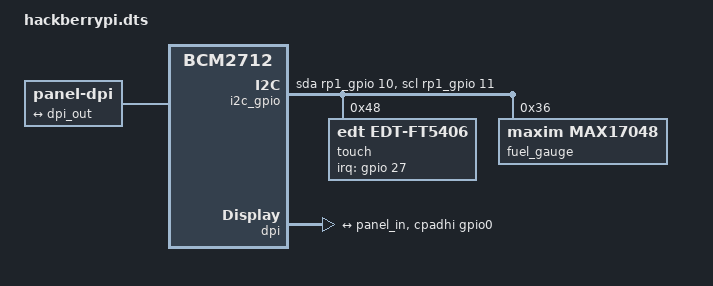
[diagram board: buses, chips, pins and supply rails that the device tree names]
/*
 * hackberrypi.dts — HackberryPi CM5 overlay for Marathon OS
 *
 * Combines:
 *   - HyperPixel 4.0 Square (720×720) DPI panel + edt-ft5x06 capacitive
 *     touch — identical to ZitaoTech's stock hackberrypi.dtbo (matches
 *     panel-timing values we extracted from the binary).
 *   - MAX17048 LiPo fuel gauge on the same i2c-gpio bus @ 0x36, using
 *     the upstream `maxim,max17048` compatible string so the standard
 *     CONFIG_BATTERY_MAX17040=m kernel module binds (no DKMS / no
 *     out-of-tree driver needed). CNflysky's hackberrypiq20 driver uses
 *     a custom `hackberrypi,max17048-battery` compatible to add
 *     hackberrypi-specific energy reporting, but the mainline driver is
 *     sufficient for status-bar percentage display.
 *
 * Reference: github.com/CNflysky/hackberrypiq20/blob/main/hackberrypicm5.dts
 *            github.com/ZitaoTech/HackberryPiCM5
 */
/dts-v1/;
/plugin/;

/ {
	compatible = "brcm,bcm2712", "raspberrypi,5-compute-module";

	fragment@0 {
		target-path = "/";
		__overlay__ {
			i2c_gpio: i2c-gpio {
				compatible = "i2c-gpio";
				gpios = <&rp1_gpio 10 0
				         &rp1_gpio 11 0>;
				i2c-gpio,delay-us = <4>;
				/* GPIO 10/11 are unused by DPI 18-bit (RGB666) mode, freeing them for I2C */
				#address-cells = <1>;
				#size-cells = <0>;

				touch: touchscreen@48 {
					#address-cells = <1>;
					#size-cells = <0>;
					compatible = "edt,edt-ft5406";
					reg = <0x48>;
					pinctrl-names = "default";
					pinctrl-0 = <&touch_int_pin>;
					interrupt-parent = <&gpio>;
					interrupts = <27 0x02>;
					touchscreen-size-x = <720>;
					touchscreen-size-y = <720>;
				};

				/* MAX17048 LiPo fuel gauge — Marathon adds this; ZitaoTech's
				 * stock dtbo doesn't include it, which is why status-bar
				 * battery read kept showing 0% (no power_supply node).
				 * compatible="maxim,max17048" binds the mainline
				 * max17040_battery module (CONFIG_BATTERY_MAX17040=m in
				 * linux-rpi). 5000 mAh / 18.5 Wh figures from CNflysky.
				 */
				fuel_gauge: battery@36 {
					compatible = "maxim,max17048";
					reg = <0x36>;
					charge-full-design-microamp-hours = <5000000>;
					energy-full-design-microwatt-hours = <18500000>;
				};
			};
		};
	};

	fragment@1 {
		target = <&dpi>;
		__overlay__ {
			status = "okay";
			pinctrl-names = "default";
			pinctrl-0 = <&dpi_18bit_cpadhi_gpio0>;
			port {
				dpi_out: endpoint {
					remote-endpoint = <&panel_in>;
				};
			};
		};
	};

	fragment@2 {
		target-path = "/";
		__overlay__ {
			panel: panel {
				compatible = "panel-dpi";
				/* 4-inch square (~72×72mm); doubled to 144 so high-DPI
				 * userspace doesn't treat this as a tiny screen. */
				width-mm = <144>;
				height-mm = <144>;
				bus-format = <0x1024>;	/* MEDIA_BUS_FMT_RGB666_1X18 */

				timing: panel-timing {
					clock-frequency = <35000000>;	/* matches ZitaoTech's stock dtbo */
					hactive = <720>;
					hfront-porch = <44>;
					hsync-len = <2>;
					hback-porch = <46>;
					hsync-active = <1>;
					vactive = <720>;
					vfront-porch = <16>;
					vsync-len = <2>;
					vback-porch = <18>;
					vsync-active = <1>;
					de-active = <1>;
					pixelclk-active = <1>;
				};

				port {
					panel_in: endpoint {
						remote-endpoint = <&dpi_out>;
					};
				};
			};
		};
	};

	fragment@3 {
		target = <&rp1_gpio>;
		__overlay__ {
			touch_int_pin: gpio27 {
				function = "gpio";
				pins = "gpio27";
				bias-pull-up;
			};
		};
	};
};
